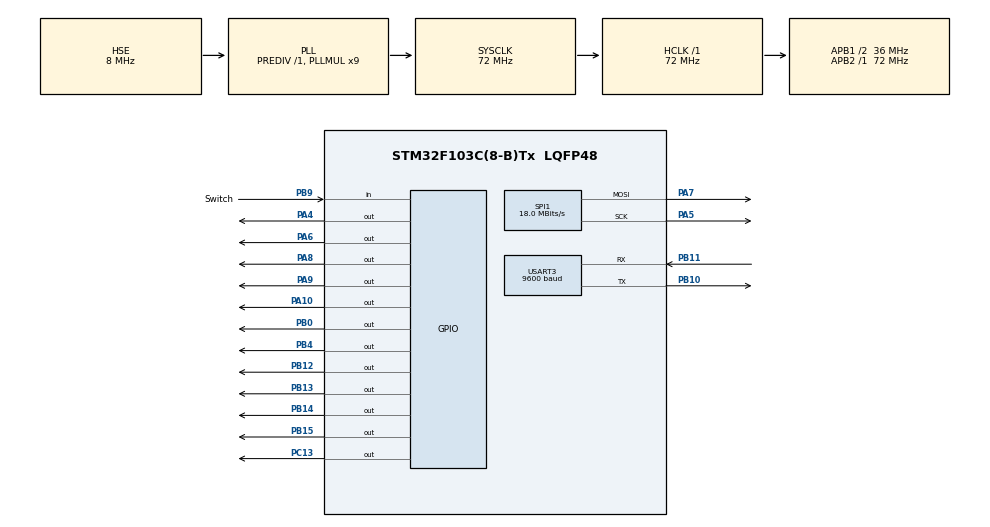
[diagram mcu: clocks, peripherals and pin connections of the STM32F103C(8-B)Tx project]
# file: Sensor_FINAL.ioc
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Dma.Request0=SPI1_TX
Dma.SPI1_TX.0.Direction=DMA_MEMORY_TO_PERIPH
Dma.SPI1_TX.0.Instance=DMA1_Channel3
Dma.SPI1_TX.0.MemDataAlignment=DMA_MDATAALIGN_BYTE
Dma.SPI1_TX.0.MemInc=DMA_MINC_ENABLE
Dma.SPI1_TX.0.Mode=DMA_NORMAL
Dma.SPI1_TX.0.PeriphDataAlignment=DMA_PDATAALIGN_BYTE
Dma.SPI1_TX.0.PeriphInc=DMA_PINC_DISABLE
Dma.SPI1_TX.0.Priority=DMA_PRIORITY_LOW
Mcu.Family=STM32F1
Mcu.Name=STM32F103C(8-B)Tx
Mcu.Package=LQFP48
NVIC.DMA1_Channel3_IRQn=true\:0\:0\:false\:false\:true\:false\:true\:true
NVIC.PriorityGroup=NVIC_PRIORITYGROUP_4
PA10.Signal=GPIO_Output
PA13.Mode=Serial_Wire
PA13.Signal=SYS_JTMS-SWDIO
PA14.Mode=Serial_Wire
PA14.Signal=SYS_JTCK-SWCLK
PA4.Signal=GPIO_Output
PA5.Mode=TX_Only_Simplex_Unidirect_Master
PA5.Signal=SPI1_SCK
PA6.Signal=GPIO_Output
PA7.Mode=TX_Only_Simplex_Unidirect_Master
PA7.Signal=SPI1_MOSI
PA8.Signal=GPIO_Output
PA9.Signal=GPIO_Output
PB0.Signal=GPIO_Output
PB10.Mode=Asynchronous
PB10.Signal=USART3_TX
PB11.Mode=Asynchronous
PB11.Signal=USART3_RX
PB12.Signal=GPIO_Output
PB13.Signal=GPIO_Output
PB14.Signal=GPIO_Output
PB15.Signal=GPIO_Output
PB4.Signal=GPIO_Output
PB9.GPIO_Label=Switch
PB9.Signal=GPIO_Input
PC13-TAMPER-RTC.Signal=GPIO_Output
PD0-OSC_IN.Mode=HSE-External-Oscillator
PD0-OSC_IN.Signal=RCC_OSC_IN
PD1-OSC_OUT.Mode=HSE-External-Oscillator
PD1-OSC_OUT.Signal=RCC_OSC_OUT
ProjectManager.HeapSize=0x200
ProjectManager.StackSize=0x400
ProjectManager.TargetToolchain=STM32CubeIDE
RCC.AHBFreq_Value=72000000
RCC.APB1CLKDivider=RCC_HCLK_DIV2
RCC.APB1Freq_Value=36000000
RCC.APB1TimFreq_Value=72000000
RCC.APB2Freq_Value=72000000
RCC.APB2TimFreq_Value=72000000
RCC.HCLKFreq_Value=72000000
RCC.PLLMUL=RCC_PLL_MUL9
RCC.PLLSourceVirtual=RCC_PLLSOURCE_HSE
RCC.SYSCLKFreq_VALUE=72000000
RCC.SYSCLKSource=RCC_SYSCLKSOURCE_PLLCLK
RCC.USBFreq_Value=72000000
SPI1.BaudRatePrescaler=SPI_BAUDRATEPRESCALER_4
SPI1.CalculateBaudRate=18.0 MBits/s
SPI1.Direction=SPI_DIRECTION_2LINES
SPI1.Mode=SPI_MODE_MASTER
SPI1.VirtualType=VM_MASTER
TIM1.Prescaler=72-1
USART3.BaudRate=9600
USART3.VirtualMode=VM_ASYNC
VP_TIM1_VS_ClockSourceINT.Mode=Internal
board=custom

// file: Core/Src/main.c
/* USER CODE BEGIN Header */
/**
  ******************************************************************************
  * @file           : main.c
  * @brief          : Main program body
  ******************************************************************************
  * @attention
  *
  * Copyright (c) 2023 STMicroelectronics.
  * All rights reserved.
  *
  * This software is licensed under terms that can be found in the LICENSE file
  * in the root directory of this software component.
  * If no LICENSE file comes with this software, it is provided AS-IS.
  *
  ******************************************************************************
  */
/* USER CODE END Header */
#include "main.h"

/* USER CODE BEGIN Includes */
#include "ILI9341_STM32_Driver.h"
#include "ILI9341_GFX.h"
//#include "usart.h"
//#include "gpio.h"
#include <stdio.h>
#include <string.h>
/* USER CODE END Includes */

SPI_HandleTypeDef hspi1;
DMA_HandleTypeDef hdma_spi1_tx;

TIM_HandleTypeDef htim1;

UART_HandleTypeDef huart3;

void SystemClock_Config(void);
static void MX_GPIO_Init(void);
static void MX_DMA_Init(void);
static void MX_SPI1_Init(void);
static void MX_TIM1_Init(void);
static void MX_USART3_UART_Init(void);
/* USER CODE BEGIN PFP */
void HAL_UART_Read_String(UART_HandleTypeDef *huart, char *str, uint8_t size);
/* USER CODE END PFP */

/* USER CODE BEGIN 0 */
#define DHT11_PORT GPIOB
#define DHT11_PIN GPIO_PIN_4
uint8_t RHI, RHD, TCI, TCD, SUM;
uint32_t pMillis, cMillis;
float tCelsius = 0;
float tFahrenheit = 0;
float RH = 0;
void microDelay (uint16_t delay)
{
  __HAL_TIM_SET_COUNTER(&htim1, 0);
  while (__HAL_TIM_GET_COUNTER(&htim1) < delay);
}

uint8_t DHT11_Start (void)
{

  uint8_t Response = 0;
  GPIO_InitTypeDef GPIO_InitStructPrivate = {0};
  GPIO_InitStructPrivate.Pin = DHT11_PIN;
  GPIO_InitStructPrivate.Mode = GPIO_MODE_OUTPUT_PP;
  GPIO_InitStructPrivate.Speed = GPIO_SPEED_FREQ_LOW;
  GPIO_InitStructPrivate.Pull = GPIO_NOPULL;
  HAL_GPIO_Init(DHT11_PORT, &GPIO_InitStructPrivate); // set the pin as output
  HAL_GPIO_WritePin (DHT11_PORT, DHT11_PIN, 0);   // pull the pin low
  HAL_Delay(20);   // wait for 20us
  HAL_GPIO_WritePin (DHT11_PORT, DHT11_PIN, 1);   // pull the pin high
  microDelay (30);   // wait for 30us
  GPIO_InitStructPrivate.Mode = GPIO_MODE_INPUT;
  GPIO_InitStructPrivate.Pull = GPIO_PULLUP;
  HAL_GPIO_Init(DHT11_PORT, &GPIO_InitStructPrivate); // set the pin as input
  microDelay (40);
  if (!(HAL_GPIO_ReadPin (DHT11_PORT, DHT11_PIN)))
  {
    microDelay (80);
    if ((HAL_GPIO_ReadPin (DHT11_PORT, DHT11_PIN))) Response = 1;
  }
  pMillis = HAL_GetTick();
  cMillis = HAL_GetTick();
  while ((HAL_GPIO_ReadPin (DHT11_PORT, DHT11_PIN)) && pMillis + 2 > cMillis)
  {
    cMillis = HAL_GetTick();
  }
  return Response;
}

uint8_t DHT11_Read (void)
{
  uint8_t a,b;
  for (a=0;a<8;a++)
  {
    pMillis = HAL_GetTick();
    cMillis = HAL_GetTick();
    while (!(HAL_GPIO_ReadPin (DHT11_PORT, DHT11_PIN)) && pMillis + 2 > cMillis)
    {  // wait for the pin to go high
      cMillis = HAL_GetTick();
    }
    microDelay (40);   // wait for 40 us
    if (!(HAL_GPIO_ReadPin (DHT11_PORT, DHT11_PIN)))   // if the pin is low
      b&= ~(1<<(7-a));
    else
      b|= (1<<(7-a));
    pMillis = HAL_GetTick();
    cMillis = HAL_GetTick();
    while ((HAL_GPIO_ReadPin (DHT11_PORT, DHT11_PIN)) && pMillis + 2 > cMillis)
    {  // wait for the pin to go low
      cMillis = HAL_GetTick();
    }
  }
  return b;
}

char message_rx[20];
char message_tx[20];
/* USER CODE END 0 */

int main(void)
{

  /* MCU Configuration--------------------------------------------------------*/

  /* Reset of all peripherals, Initializes the Flash interface and the Systick. */
  HAL_Init();

  /* Configure the system clock */
  SystemClock_Config();

  /* Initialize all configured peripherals */
  MX_GPIO_Init();
  MX_DMA_Init();
  MX_SPI1_Init();
  MX_TIM1_Init();
  MX_USART3_UART_Init();
  /* USER CODE BEGIN 2 */
  ILI9341_Init();
    // Simple Text writing (Text, Font, X, Y, Color, BackColor)
    // Available Fonts are FONT1, FONT2, FONT3 and FONT4
    ILI9341_FillScreen(WHITE);
    ILI9341_SetRotation(SCREEN_HORIZONTAL_2);
    ILI9341_DrawText("HELLO WORLD", FONT4, 90, 110, BLACK, WHITE);
    HAL_Delay(1000);
    int temperature_C,temperature_F, humidity;

	HAL_GPIO_WritePin(GPIOC, GPIO_PIN_13, 1);

  HAL_TIM_Base_Start(&htim1);
  /* USER CODE END 2 */

  /* Infinite loop */
  /* USER CODE BEGIN WHILE */
  int k =0;
  while (1)
  {
    /* USER CODE END WHILE */

    /* USER CODE BEGIN 3 */
	  /*
	HAL_UART_Read_String(&huart3, message_rx, 20);

	if (!strcmp(message_rx, "led1.on")) {
		HAL_GPIO_WritePin(GPIOC, GPIO_PIN_13, GPIO_PIN_RESET);
		HAL_Delay(1000);
		HAL_GPIO_WritePin(GPIOC, GPIO_PIN_13, GPIO_PIN_SET);
	}
			if(!strcmp(message_rx, "10"))
			{
				HAL_GPIO_WritePin(GPIOC, GPIO_PIN_13, GPIO_PIN_RESET);
			}
			else if(!strcmp(message_rx, "0"))
			{
				HAL_GPIO_WritePin(GPIOC, GPIO_PIN_13, GPIO_PIN_SET);
			}
			*/
	HAL_GPIO_WritePin(GPIOA, GPIO_PIN_10, 0);
	HAL_GPIO_WritePin(GPIOA, GPIO_PIN_9, 0);
	HAL_GPIO_WritePin(GPIOA, GPIO_PIN_8, 0);
	HAL_GPIO_WritePin(GPIOB, GPIO_PIN_12, 0);
	HAL_GPIO_WritePin(GPIOB, GPIO_PIN_13, 1);
	HAL_GPIO_WritePin(GPIOB, GPIO_PIN_14, 1);
	HAL_GPIO_WritePin(GPIOB, GPIO_PIN_15, 0);

	if(DHT11_Start()){
		RHI = DHT11_Read(); // Relative humidity integral
		RHD = DHT11_Read(); // Relative humidity decimal
	 	TCI = DHT11_Read(); // Celsius integral
	  	TCD = DHT11_Read(); // Celsius decimal
	  	SUM = DHT11_Read(); // Check sum
	}
	if (RHI + RHD + TCI + TCD == SUM){
	  	// Can use RHI and TCI for any purposes if whole number only needed
	 	tCelsius = (float)TCI + (float)(TCD/10.0);
	 	tFahrenheit = tCelsius * 9/5 + 32;
	 	RH = (float)RHI + (float)(RHD/10.0);
	  	// Can use tCelsius, tFahrenheit and RH for any purposes
	}
    //HAL_Delay(2000);
    //temperature_C = 10;
    //sprintf(message_tx,"%u\r\n",temperature_C);
    	//HAL_UART_Transmit(&huart3, (uint8_t*)message_tx,strlen(message_tx), HAL_MAX_DELAY);
    	//HAL_Delay(1500);

    //HAL_GPIO_WritePin(GPIOC, GPIO_PIN_13, 0);
	ILI9341_FillScreen(WHITE);
	static char BufferText[30];
	temperature_C = tCelsius;
	sprintf(BufferText, "TC: %d°C", temperature_C);
	ILI9341_DrawText(BufferText, FONT3, 10, 10, BLACK, WHITE);
	temperature_F = tFahrenheit;
	sprintf(BufferText, "TF: %d°F", temperature_F);
	ILI9341_DrawText(BufferText, FONT3, 10, 30, BLUE, WHITE);
	humidity = RH;
	sprintf(BufferText, "H: %d percentage", humidity);
	ILI9341_DrawText(BufferText, FONT3, 10, 50, GREEN, WHITE);
	HAL_Delay(1000);
	HAL_GPIO_WritePin(GPIOC, GPIO_PIN_13, 1);

	sprintf(message_tx,"T%u_H%u\r\n",temperature_C,humidity);//T%u_H%u
	HAL_UART_Transmit(&huart3, (uint8_t*)message_tx,strlen(message_tx), HAL_MAX_DELAY);
	HAL_Delay(1000);
  }
  /* USER CODE END 3 */
}

void SystemClock_Config(void)
{
  RCC_OscInitTypeDef RCC_OscInitStruct = {0};
  RCC_ClkInitTypeDef RCC_ClkInitStruct = {0};

  /** Initializes the RCC Oscillators according to the specified parameters
  * in the RCC_OscInitTypeDef structure.
  */
  RCC_OscInitStruct.OscillatorType = RCC_OSCILLATORTYPE_HSE;
  RCC_OscInitStruct.HSEState = RCC_HSE_ON;
  RCC_OscInitStruct.HSEPredivValue = RCC_HSE_PREDIV_DIV1;
  RCC_OscInitStruct.HSIState = RCC_HSI_ON;
  RCC_OscInitStruct.PLL.PLLState = RCC_PLL_ON;
  RCC_OscInitStruct.PLL.PLLSource = RCC_PLLSOURCE_HSE;
  RCC_OscInitStruct.PLL.PLLMUL = RCC_PLL_MUL9;
  if (HAL_RCC_OscConfig(&RCC_OscInitStruct) != HAL_OK)
  {
    Error_Handler();
  }

  /** Initializes the CPU, AHB and APB buses clocks
  */
  RCC_ClkInitStruct.ClockType = RCC_CLOCKTYPE_HCLK|RCC_CLOCKTYPE_SYSCLK
                              |RCC_CLOCKTYPE_PCLK1|RCC_CLOCKTYPE_PCLK2;
  RCC_ClkInitStruct.SYSCLKSource = RCC_SYSCLKSOURCE_PLLCLK;
  RCC_ClkInitStruct.AHBCLKDivider = RCC_SYSCLK_DIV1;
  RCC_ClkInitStruct.APB1CLKDivider = RCC_HCLK_DIV2;
  RCC_ClkInitStruct.APB2CLKDivider = RCC_HCLK_DIV1;

  if (HAL_RCC_ClockConfig(&RCC_ClkInitStruct, FLASH_LATENCY_2) != HAL_OK)
  {
    Error_Handler();
  }
}

static void MX_SPI1_Init(void)
{

  /* SPI1 parameter configuration*/
  hspi1.Instance = SPI1;
  hspi1.Init.Mode = SPI_MODE_MASTER;
  hspi1.Init.Direction = SPI_DIRECTION_2LINES;
  hspi1.Init.DataSize = SPI_DATASIZE_8BIT;
  hspi1.Init.CLKPolarity = SPI_POLARITY_LOW;
  hspi1.Init.CLKPhase = SPI_PHASE_1EDGE;
  hspi1.Init.NSS = SPI_NSS_SOFT;
  hspi1.Init.BaudRatePrescaler = SPI_BAUDRATEPRESCALER_4;
  hspi1.Init.FirstBit = SPI_FIRSTBIT_MSB;
  hspi1.Init.TIMode = SPI_TIMODE_DISABLE;
  hspi1.Init.CRCCalculation = SPI_CRCCALCULATION_DISABLE;
  hspi1.Init.CRCPolynomial = 10;
  if (HAL_SPI_Init(&hspi1) != HAL_OK)
  {
    Error_Handler();
  }

}

static void MX_TIM1_Init(void)
{

  TIM_ClockConfigTypeDef sClockSourceConfig = {0};
  TIM_MasterConfigTypeDef sMasterConfig = {0};

  htim1.Instance = TIM1;
  htim1.Init.Prescaler = 72-1;
  htim1.Init.CounterMode = TIM_COUNTERMODE_UP;
  htim1.Init.Period = 65535;
  htim1.Init.ClockDivision = TIM_CLOCKDIVISION_DIV1;
  htim1.Init.RepetitionCounter = 0;
  htim1.Init.AutoReloadPreload = TIM_AUTORELOAD_PRELOAD_DISABLE;
  if (HAL_TIM_Base_Init(&htim1) != HAL_OK)
  {
    Error_Handler();
  }
  sClockSourceConfig.ClockSource = TIM_CLOCKSOURCE_INTERNAL;
  if (HAL_TIM_ConfigClockSource(&htim1, &sClockSourceConfig) != HAL_OK)
  {
    Error_Handler();
  }
  sMasterConfig.MasterOutputTrigger = TIM_TRGO_RESET;
  sMasterConfig.MasterSlaveMode = TIM_MASTERSLAVEMODE_DISABLE;
  if (HAL_TIMEx_MasterConfigSynchronization(&htim1, &sMasterConfig) != HAL_OK)
  {
    Error_Handler();
  }

}

static void MX_USART3_UART_Init(void)
{

  huart3.Instance = USART3;
  huart3.Init.BaudRate = 9600;
  huart3.Init.WordLength = UART_WORDLENGTH_8B;
  huart3.Init.StopBits = UART_STOPBITS_1;
  huart3.Init.Parity = UART_PARITY_NONE;
  huart3.Init.Mode = UART_MODE_TX_RX;
  huart3.Init.HwFlowCtl = UART_HWCONTROL_NONE;
  huart3.Init.OverSampling = UART_OVERSAMPLING_16;
  if (HAL_UART_Init(&huart3) != HAL_OK)
  {
    Error_Handler();
  }

}

static void MX_DMA_Init(void)
{

  /* DMA controller clock enable */
  __HAL_RCC_DMA1_CLK_ENABLE();

  /* DMA interrupt init */
  /* DMA1_Channel3_IRQn interrupt configuration */
  HAL_NVIC_SetPriority(DMA1_Channel3_IRQn, 0, 0);
  HAL_NVIC_EnableIRQ(DMA1_Channel3_IRQn);

}

static void MX_GPIO_Init(void)
{
  GPIO_InitTypeDef GPIO_InitStruct = {0};

  /* GPIO Ports Clock Enable */
  __HAL_RCC_GPIOC_CLK_ENABLE();
  __HAL_RCC_GPIOD_CLK_ENABLE();
  __HAL_RCC_GPIOA_CLK_ENABLE();
  __HAL_RCC_GPIOB_CLK_ENABLE();

  /*Configure GPIO pin Output Level */
  HAL_GPIO_WritePin(GPIOC, GPIO_PIN_13, GPIO_PIN_RESET);

  /*Configure GPIO pin Output Level */
  HAL_GPIO_WritePin(GPIOA, GPIO_PIN_4|GPIO_PIN_6|GPIO_PIN_8|GPIO_PIN_9
                          |GPIO_PIN_10, GPIO_PIN_RESET);

  /*Configure GPIO pin Output Level */
  HAL_GPIO_WritePin(GPIOB, GPIO_PIN_0|GPIO_PIN_12|GPIO_PIN_13|GPIO_PIN_14
                          |GPIO_PIN_15|GPIO_PIN_4, GPIO_PIN_RESET);

  /*Configure GPIO pin : PC13 */
  GPIO_InitStruct.Pin = GPIO_PIN_13;
  GPIO_InitStruct.Mode = GPIO_MODE_OUTPUT_PP;
  GPIO_InitStruct.Pull = GPIO_NOPULL;
  GPIO_InitStruct.Speed = GPIO_SPEED_FREQ_LOW;
  HAL_GPIO_Init(GPIOC, &GPIO_InitStruct);

  /*Configure GPIO pins : PA4 PA6 PA8 PA9
                           PA10 */
  GPIO_InitStruct.Pin = GPIO_PIN_4|GPIO_PIN_6|GPIO_PIN_8|GPIO_PIN_9
                          |GPIO_PIN_10;
  GPIO_InitStruct.Mode = GPIO_MODE_OUTPUT_PP;
  GPIO_InitStruct.Pull = GPIO_NOPULL;
  GPIO_InitStruct.Speed = GPIO_SPEED_FREQ_LOW;
  HAL_GPIO_Init(GPIOA, &GPIO_InitStruct);

  /*Configure GPIO pins : PB0 PB12 PB13 PB14
                           PB15 PB4 */
  GPIO_InitStruct.Pin = GPIO_PIN_0|GPIO_PIN_12|GPIO_PIN_13|GPIO_PIN_14
                          |GPIO_PIN_15|GPIO_PIN_4;
  GPIO_InitStruct.Mode = GPIO_MODE_OUTPUT_PP;
  GPIO_InitStruct.Pull = GPIO_NOPULL;
  GPIO_InitStruct.Speed = GPIO_SPEED_FREQ_LOW;
  HAL_GPIO_Init(GPIOB, &GPIO_InitStruct);

  /*Configure GPIO pin : Switch_Pin */
  GPIO_InitStruct.Pin = Switch_Pin;
  GPIO_InitStruct.Mode = GPIO_MODE_INPUT;
  GPIO_InitStruct.Pull = GPIO_NOPULL;
  HAL_GPIO_Init(Switch_GPIO_Port, &GPIO_InitStruct);

}

/* USER CODE BEGIN 4 */
/*
void HAL_UART_Read_String(UART_HandleTypeDef *huart, char *str, uint8_t size){
	char caracter[1];
	uint8_t cont_rx = 0;
	do{
		HAL_UART_Receive(huart, (uint8_t*)caracter, 1, 100);
		str[cont_rx++] = (char)caracter[0];
		if(cont_rx >= size) break;
	}while(caracter[0] != '\n');
	str[cont_rx-2] = '\0';
	cont_rx = 0;
}
*/
void HAL_UART_Read_String(UART_HandleTypeDef *huart, char *str, uint8_t size)
{
	char caracter[1];
	uint8_t cont_rx = 0;
	do
	{
		HAL_UART_Receive(huart, (uint8_t*)caracter, 1, HAL_MAX_DELAY);
		str[cont_rx++] = (char)caracter[0];
		if(cont_rx >= size) break;
	}while(caracter[0] != '\n');
	str[cont_rx-2] = '\0';
	cont_rx = 0;
}
/* USER CODE END 4 */

void Error_Handler(void)
{
  __disable_irq();
  while (1)
  {
  }
}
